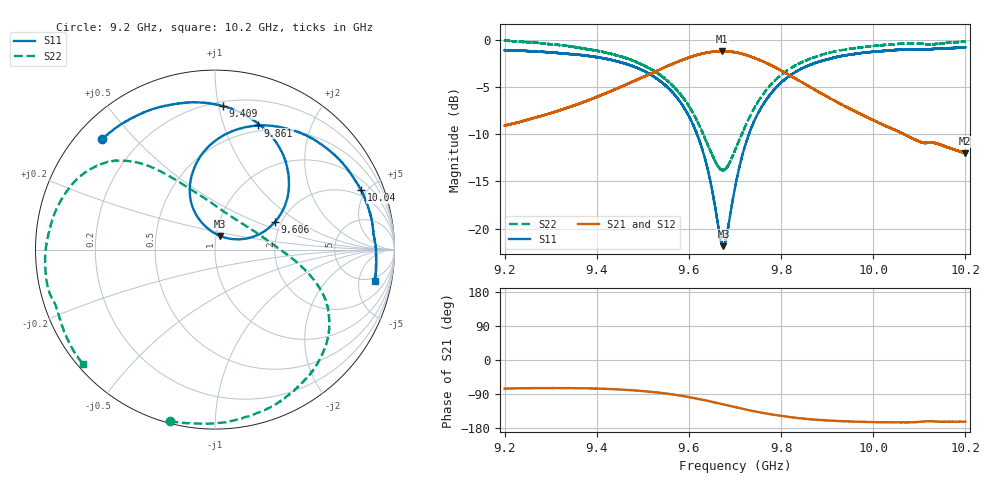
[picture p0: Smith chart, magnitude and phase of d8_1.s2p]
!Agilent Technologies,N5242A,MY51221714,A.09.90.19
!Agilent N5242A: A.09.90.19
!Date: Tuesday, March 26, 2024 16:22:27
!Correction: S11(Full 2 Port(1,2))
!S21(Full 2 Port(1,2))
!S12(Full 2 Port(1,2))
!S22(Full 2 Port(1,2))
!S2P File: Measurements: S11, S21, S12, S22:
# Hz S  dB  R 50
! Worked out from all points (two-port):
!   16001 points, 9.2 GHz to 10.2 GHz, reference 50 ohm
!   highest |S21| = -1.22 dB at 9.672 GHz (marker M1); lowest = -12.0 dB at 10.2 GHz (marker M2)
!   |S21| within 3 dB of the highest: 9.488487 GHz to 9.48918 GHz (692.7 kHz wide, 0.0073 % of centre); 9.489 GHz to 9.834 GHz (344.8 MHz wide, 3.57 % of centre)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
!   lowest |S11| = -21.9 dB at 9.675 GHz (marker M3), VSWR 1.18, Z = 52.4 + j7.93 ohm
!   |S11| at or under -10 dB: 9.618 GHz to 9.73 GHz (112.6 MHz wide, 1.16 % of centre)
!   |S22| runs from -13.9 to -0.1 dB; largest |S21 - S12| = 0.01
!   S11 on the Smith chart (normalised r, x): 9.2 GHz: 0.08, +0.41; 9.409 GHz: 0.23, +1.03; 9.606 GHz: 1.84, +0.65; 9.861 GHz: 0.44, +1.31; 10.04 GHz: 1.59, +4.60; 10.2 GHz: 4.13, -8.29
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9.2e9  -1.12 135.7  -9.11 -75.4  -9.08 -76.2  -0.11 -104.7
9.278812e9  -1.28 118.3  -8.09 -74.2  -8.08 -74.8  -0.38 -83.4
9.366688e9  -1.64 97.6  -6.70 -74.7  -6.69 -75.2  -0.92 -60.9
9.408812e9  -1.93 86.8  -5.90 -75.8  -5.89 -76.5  -1.27 -50.6
9.47025e9  -2.68 69.3  -4.63 -79.3  -4.62 -79.9  -2.08 -36.5
9.533375e9  -4.25 49.3  -3.25 -86.0  -3.25 -86.6  -3.60 -23.2
9.606312e9  -8.74 24.8  -1.81 -99.2  -1.79 -99.8  -7.53 -5.3
9.638188e9  -13.24 18.4  -1.38 -107.1  -1.38 -107.6  -10.81 11.9
9.671625e9  -21.61 58.1  -1.22 -116.2  -1.23 -116.7  -13.81 53.6
9.674812e9  -21.87 68.8  -1.23 -117.1  -1.23 -117.6  -13.82 58.7
9.7e9  -15.67 115.8  -1.34 -124.3  -1.33 -124.8  -11.72 93.6
9.72625e9  -10.56 116.7  -1.66 -131.4  -1.65 -131.9  -8.77 112.4
9.758188e9  -7.09 106.6  -2.26 -139.1  -2.26 -139.8  -5.97 123.2
9.81075e9  -4.10 87.7  -3.56 -149.4  -3.58 -149.9  -3.37 133.6
9.860562e9  -2.71 70.9  -4.94 -156.0  -4.95 -156.5  -2.08 142.4
9.866688e9  -2.61 69.0  -5.12 -156.6  -5.12 -157.1  -1.97 143.5
9.934375e9  -1.71 49.1  -6.95 -161.6  -6.96 -162.1  -1.10 156.9
1.003338e10  -1.16 24.3  -9.28 -164.3  -9.27 -164.9  -0.53 178.9
1.004281e10  -1.13 22.1  -9.48 -164.4  -9.46 -164.9  -0.49 -178.9
1.009944e10  -1.03 9.2  -10.78 -163.4  -10.79 -163.8  -0.42 -165.8
1.019988e10  -0.85 -11.0  -12.03 -162.8  -12.02 -163.2  -0.23 -139.3
1.02e10  -0.83 -11.1  -12.00 -162.8  -12.02 -163.3  -0.24 -139.3
